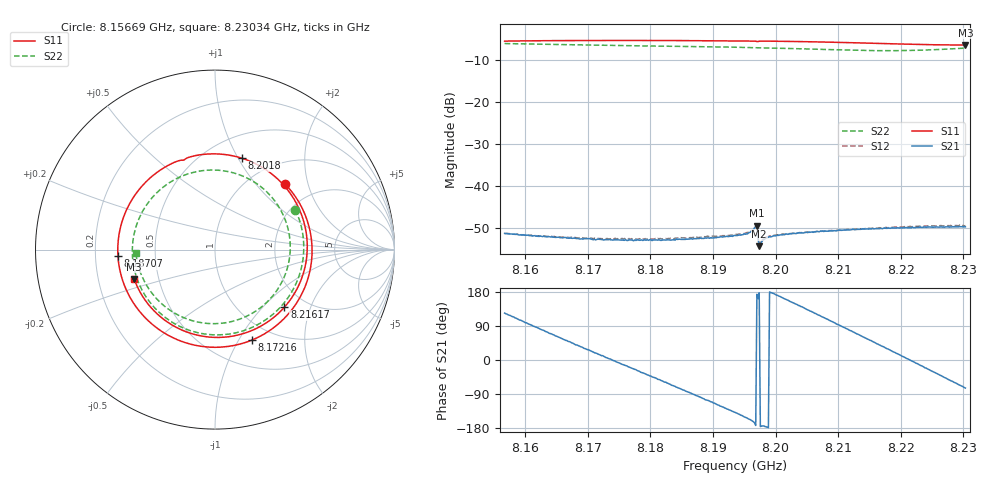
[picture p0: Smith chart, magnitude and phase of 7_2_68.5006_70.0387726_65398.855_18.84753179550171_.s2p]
#  HZ  S  RI  R  50.00
! Rohde & Schwarz Vector Network Analyzer
! Rohde-Schwarz,ZNB20-2Port,1311601062101988,3.16
! Created: UTC 3/20/2024, 5:04:00 PM
! freq[Hz]  re:S11  im:S11  re:S21  im:S21  re:S12  im:S12  re:S22  im:S22
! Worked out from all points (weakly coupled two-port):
!   401 points, 8.15669 GHz to 8.23034 GHz, reference 50 ohm
!   highest |S21| = -49.46 dB at 8.19702 GHz (marker M1); lowest = -54.4 dB at 8.19738 GHz (marker M2)
!   lowest |S11| = -6.4 dB at 8.23034 GHz (marker M3), VSWR 2.84, Z = 18.1 - j7.69 ohm
!   |S11| at or under -10 dB: nowhere
!   |S22| runs from -7.7 to -6.0 dB; largest |S21 - S12| = 0.00024
!   S11 on the Smith chart (normalised r, x): 8.15669 GHz: 1.42, +1.45; 8.17216 GHz: 0.80, -1.14; 8.18707 GHz: 0.30, -0.03; 8.2018 GHz: 0.73, +1.04; 8.21617 GHz: 1.56, -1.34; 8.23034 GHz: 0.36, -0.15
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8.156689e9  0.3922 0.3633  -0.00151 0.00225  -0.00148 0.00223  0.4476 0.2229
8.162949e9  0.5408 -0.0183  0.000514 0.00246  0.00053 0.00246  0.4679 -0.1481
8.169026e9  0.3833 -0.3859  0.00193 0.00132  0.00199 0.00137  0.2418 -0.416
8.172156e9  0.2079 -0.5031  0.00224 0.000456  0.00228 0.000532  0.0707 -0.4715
8.17676e9  -0.1011 -0.535  0.00212 -0.000773  0.00218 -0.00077  -0.186 -0.4326
8.181363e9  -0.3785 -0.3899  0.00142 -0.00178  0.00143 -0.00184  -0.3817 -0.267
8.187072e9  -0.5407 -0.0372  -6.51e-05 -0.00234  -0.000134 -0.00239  -0.4587 0.0353
8.190202e9  -0.5105 0.1783  -0.000969 -0.00219  -0.00107 -0.00226  -0.4098 0.2011
8.193517e9  -0.388 0.3739  -0.00191 -0.00169  -0.002 -0.0017  -0.294 0.3437
8.196647e9  -0.2029 0.4948  -0.00301 -0.000752  -0.00311 -0.000635  -0.1396 0.4252
8.197015e9  -0.1768 0.498  -0.00334 0.00039  -0.00341 0.000508  -0.1195 0.4304
8.197383e9  -0.1611 0.5078  -0.0019 9.13e-05  -0.00195 0.000194  -0.0995 0.435
8.197752e9  -0.1352 0.5174  -0.00212 -0.000214  -0.00218 -0.000167  -0.0789 0.4387
8.201803e9  0.149 0.5094  -0.00248 0.000968  -0.00243 0.00109  0.1478 0.4125
8.205854e9  0.3865 0.3547  -0.00169 0.00224  -0.00161 0.00233  0.3327 0.2716
8.21101e9  0.5143 0.0182  0.000231 0.00295  0.00034 0.00297  0.4183 -0.0184
8.216166e9  0.3864 -0.3213  0.00225 0.0021  0.00233 0.00207  0.2804 -0.3014
8.218191e9  0.2747 -0.4151  0.00278 0.00142  0.00287 0.00136  0.1717 -0.3735
8.221137e9  0.0749 -0.4856  0.00315 0.000161  0.00325 3.91e-05  -0.0172 -0.4127
8.223899e9  -0.1232 -0.4703  0.00301 -0.00115  0.00307 -0.00126  -0.197 -0.3689
8.227398e9  -0.3382 -0.3423  0.0021 -0.00246  0.00204 -0.00262  -0.3743 -0.21
8.230344e9  -0.4505 -0.1638  0.000896 -0.00312  0.000758 -0.00326  -0.4411 -0.0171
